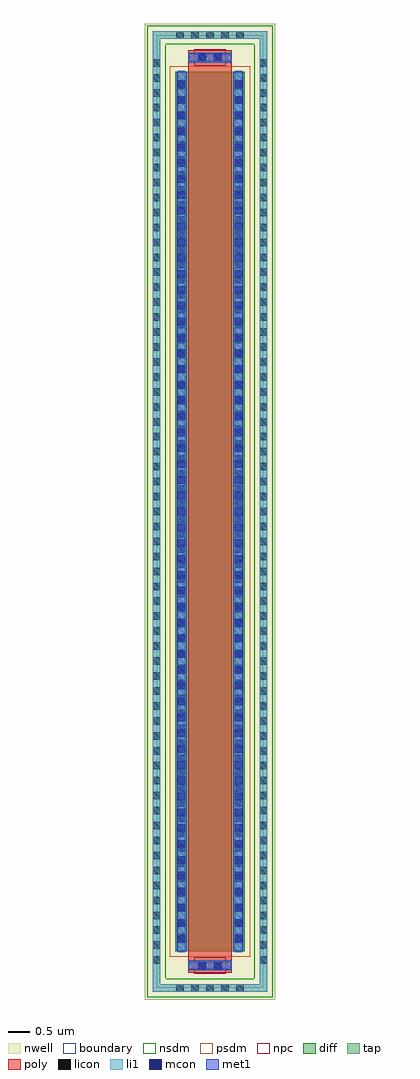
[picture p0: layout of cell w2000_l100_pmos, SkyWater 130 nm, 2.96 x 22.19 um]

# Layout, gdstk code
import gdstk
lib = gdstk.Library(unit=1e-6, precision=1e-09)
def R(c, l, rs):  # rectangles x0, y0, x1, y1
    for r in rs: c.add(gdstk.rectangle(r[:2], r[2:], *l))
def A(c, l, x, y, w, h, nx, ny, dx, dy):  # array of equal rectangles
    R(c, l, [(x+i*dx, y+j*dy, x+i*dx+w, y+j*dy+h) for i in range(nx) for j in range(ny)])
nwell = (64, 20)
diff = (65, 20)
tap = (65, 44)
poly = (66, 20)
licon = (66, 44)
li1 = (67, 20)
mcon = (67, 44)
met1 = (68, 20)
nsdm = (93, 44)
psdm = (94, 20)
npc = (95, 20)
boundary = (235, 4)

sky130_fd_pr__pfet_01v8 = lib.new_cell('sky130_fd_pr__pfet_01v8')

w2000_l100_pmos = lib.new_cell('w2000_l100_pmos')
R(w2000_l100_pmos, nwell, [(-1.48,-11.095,1.48,11.095)])
R(w2000_l100_pmos, diff, [(-0.79,-10,0.79,10)])
R(w2000_l100_pmos, tap, [(-1.3,-10.915,1.3,-10.745), (-1.3,-10.745,-1.13,10.745), (1.13,-10.745,1.3,10.745), (-1.3,10.745,1.3,10.915)])
R(w2000_l100_pmos, poly, [(-0.5,-10.485,0.5,10.485)])
A(w2000_l100_pmos, licon, -0.765, -10.915, 0.17, 0.17, 5, 2, 0.34, 21.66)
A(w2000_l100_pmos, licon, -1.3, -10.285, 0.17, 0.17, 1, 61, 0, 0.34)
A(w2000_l100_pmos, licon, 1.13, -10.285, 0.17, 0.17, 1, 61, 0, 0.34)
A(w2000_l100_pmos, licon, -0.73, -9.775, 0.17, 0.17, 1, 58, 0, 0.34)
A(w2000_l100_pmos, licon, 0.56, -9.775, 0.17, 0.17, 1, 58, 0, 0.34)
R(w2000_l100_pmos, licon, [(-0.255,-10.405,-0.085,-10.235), (0.085,-10.405,0.255,-10.235), (-0.255,10.235,-0.085,10.405), (0.085,10.235,0.255,10.405)])
R(w2000_l100_pmos, li1, [(-1.3,-10.915,1.3,-10.745), (-1.3,-10.745,-1.13,10.745), (1.13,-10.745,1.3,10.745), (-0.5,-10.405,0.5,-10.235), (-0.73,-10.02,-0.56,10.02), (0.56,-10.02,0.73,10.02), (-0.5,10.235,0.5,10.405), (-1.3,10.745,1.3,10.915)])
A(w2000_l100_pmos, mcon, -0.73, -9.805, 0.17, 0.17, 1, 55, 0, 0.36)
A(w2000_l100_pmos, mcon, 0.56, -9.805, 0.17, 0.17, 1, 55, 0, 0.36)
R(w2000_l100_pmos, mcon, [(-0.265,-10.405,-0.095,-10.235), (0.095,-10.405,0.265,-10.235), (-0.265,10.235,-0.095,10.405), (0.095,10.235,0.265,10.405)])
R(w2000_l100_pmos, met1, [(-0.48,-10.435,0.48,-10.205), (-0.76,-10,-0.53,10), (0.53,-10,0.76,10), (-0.48,10.205,0.48,10.435)])
R(w2000_l100_pmos, nsdm, [(-1.425,-11.04,1.425,-10.62), (-1.425,-10.62,-1.005,10.62), (1.005,-10.62,1.425,10.62), (-1.425,10.62,1.425,11.04)])
R(w2000_l100_pmos, psdm, [(-0.915,-10.125,0.915,10.125)])
R(w2000_l100_pmos, npc, [(-0.355,-10.505,0.355,-10.135), (-0.355,10.135,0.355,10.505)])
R(w2000_l100_pmos, boundary, [(-1.215,-10.83,1.215,10.83)])
w2000_l100_pmos.add(gdstk.Reference(sky130_fd_pr__pfet_01v8, (0,0)))

lib.write_gds('w2000_l100_pmos.gds')
